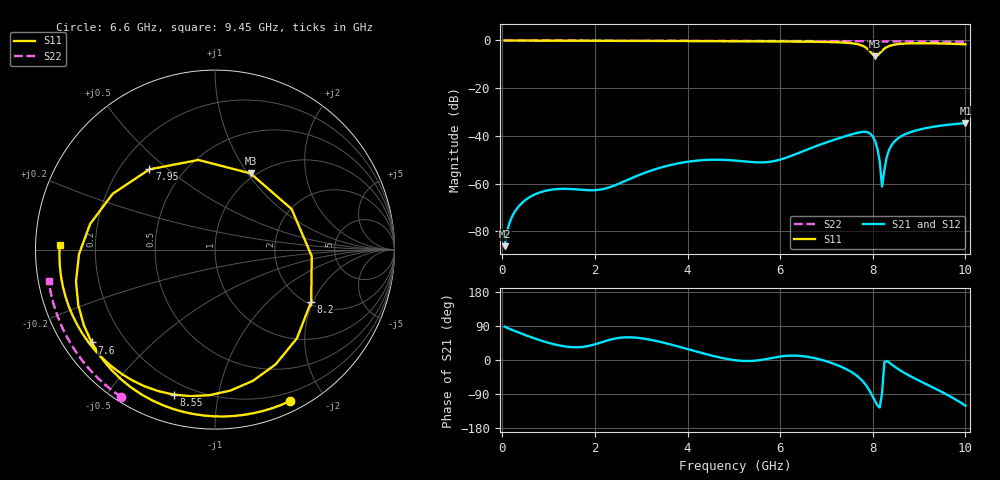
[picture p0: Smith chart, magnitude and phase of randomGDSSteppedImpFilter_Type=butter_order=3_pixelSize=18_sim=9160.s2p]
! freq	dB(S11)	phase(S11)	dB(S12)	phase(S12)
!  dB(S21)	phase(S21)	dB(S22)	phase(S22)
!S-par simulation data
#  GHz  S  DB  R 50
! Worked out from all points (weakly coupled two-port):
!   200 points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, 50 MHz to 10 GHz, reference 50 ohm
!   highest |S21| = -34.64 dB at 10 GHz (marker M1); lowest = -86.2 dB at 50 MHz (marker M2)
!   lowest |S11| = -6.6 dB at 8.05 GHz (marker M3), VSWR 2.76, Z = 47.4 + j51.6 ohm
!   |S11| at or under -10 dB: nowhere
!   |S22| runs from -0.6 to 0.0 dB; largest |S21 - S12| = 0
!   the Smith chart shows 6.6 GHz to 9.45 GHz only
!   S11 on the Smith chart (normalised r, x): 6.6 GHz: 0.11, -1.60; 7.6 GHz: 0.08, -0.33; 7.95 GHz: 0.32, +0.43; 8.2 GHz: 2.10, -1.94; 8.55 GHz: 0.14, -0.75; 9.45 GHz: 0.07, +0.01
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0.05  -0.00 -4.0  -86.23 88.2  -86.23 88.2  -0.00 -1.0
0.4  -0.04 -31.7  -68.58 70.4  -68.58 70.4  -0.01 -8.2
0.9  -0.08 -69.3  -63.18 48.8  -63.18 48.8  -0.02 -18.5
1.75  -0.13 -126.0  -62.64 34.8  -62.64 34.8  -0.05 -35.5
2.55  -0.17 -173.0  -59.77 58.8  -59.77 58.8  -0.07 -51.1
3.4  -0.21 138.7  -53.39 48.2  -53.39 48.2  -0.09 -67.2
4.25  -0.26 87.8  -50.29 20.4  -50.29 20.4  -0.12 -82.6
5.05  -0.33 36.5  -50.37 -0.9  -50.37 -0.9  -0.15 -96.5
5.8  -0.40 -12.6  -50.80 4.8  -50.80 4.8  -0.19 -109.2
6.6  -0.52 -63.8  -45.62 8.2  -45.62 8.2  -0.23 -122.4
6.7  -0.54 -70.2  -44.87 6.0  -44.87 6.0  -0.24 -124.0
7.2  -0.74 -104.6  -41.42 -11.9  -41.42 -11.9  -0.28 -132.2
7.6  -1.31 -143.0  -39.04 -36.5  -39.04 -36.5  -0.31 -138.7
7.8  -2.41 -178.1  -38.29 -58.2  -38.29 -58.2  -0.33 -141.9
7.95  -4.77 129.3  -39.12 -85.3  -39.12 -85.3  -0.35 -144.4
8.05  -6.59 65.0  -42.16 -109.0  -42.16 -109.0  -0.35 -146.0
8.15  -5.35 -3.9  -50.76 -125.5  -50.76 -125.5  -0.36 -147.6
8.2  -4.30 -28.5  -61.23 -88.0  -61.23 -88.0  -0.37 -148.4
8.35  -2.37 -73.9  -45.96 -6.3  -45.96 -6.3  -0.38 -150.9
8.55  -1.51 -105.9  -40.94 -24.1  -40.94 -24.1  -0.41 -154.2
9.45  -1.25 178.5  -35.76 -81.7  -35.76 -81.7  -0.51 -169.3
10  -1.61 129.5  -34.64 -120.6  -34.64 -120.6  -0.59 -178.9
